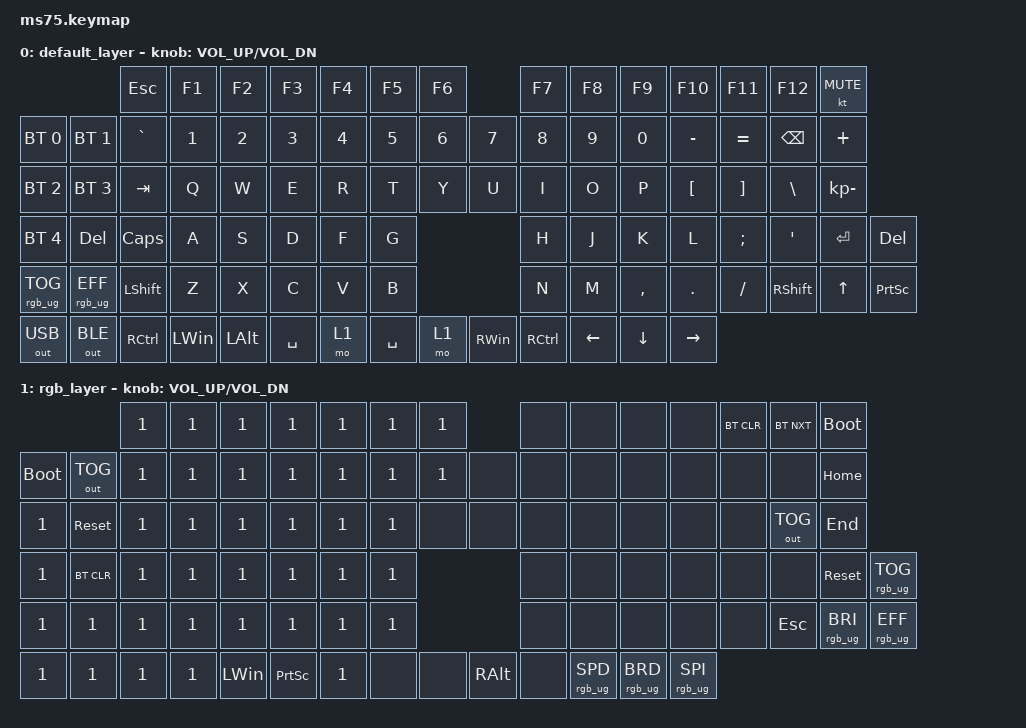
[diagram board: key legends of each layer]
#include <behaviors.dtsi>
#include <dt-bindings/zmk/bt.h>
#include <dt-bindings/zmk/keys.h>
#include <dt-bindings/zmk/keys.h>
#include <dt-bindings/zmk/outputs.h>
#include <dt-bindings/zmk/rgb.h>

/ {
    keymap {
        compatible = "zmk,keymap";

        default_layer {
            bindings = <
                                  &kp ESC         &kp F1        &kp F2        &kp F3     &kp F4  &kp F5     &kp F6  &kp F7         &kp F8                     &kp F9     &kp F10     &kp F11           &kp F12            &kt K_MUTE
&bt BT_SEL 0     &bt BT_SEL 1     &kp GRAVE       &kp N1        &kp N2        &kp N3     &kp N4  &kp N5     &kp N6  &kp N7         &kp N8     &kp N9          &kp N0     &kp MINUS   &kp EQUAL         &kp BACKSPACE                     &kp PLUS
&bt BT_SEL 2     &bt BT_SEL 3     &kp TAB         &kp Q         &kp W         &kp E      &kp R              &kp T   &kp Y          &kp U      &kp I           &kp O      &kp P       &kp LEFT_BRACKET  &kp RIGHT_BRACKET  &kp BACKSLASH  &kp KP_SUBTRACT
&bt BT_SEL 4     &kp DEL          &kp CAPS        &kp A         &kp S         &kp D      &kp F              &kp G   &kp H                     &kp J           &kp K      &kp L       &kp SEMICOLON     &kp SQT            &kp ENTER      &kp DEL
&rgb_ug RGB_TOG  &rgb_ug RGB_EFF  &kp LEFT_SHIFT  &kp Z         &kp X         &kp C      &kp V              &kp B   &kp N                     &kp M           &kp COMMA  &kp PERIOD  &kp SLASH         &kp RIGHT_SHIFT    &kp UP         &kp PRINTSCREEN
&out OUT_USB     &out OUT_BLE     &kp RCTRL       &kp LEFT_WIN  &kp LEFT_ALT  &kp SPACE  &mo 1   &kp SPACE  &mo 1   &kp RIGHT_WIN  &kp RCTRL  &kp LEFT_ARROW  &kp DOWN   &kp RIGHT
            >;

            sensor-bindings = <&inc_dec_kp C_VOL_UP C_VOL_DN>;
        };

        rgb_layer {
            bindings = <
                           &kp N1  &kp N1  &kp N1        &kp N1           &kp N1  &kp N1  &kp N1  &none          &none                   &none            &none            &bt BT_CLR  &bt BT_NXT  &bootloader
&bootloader  &out OUT_TOG  &kp N1  &kp N1  &kp N1        &kp N1           &kp N1  &kp N1  &kp N1  &none          &none  &none            &none            &none            &none       &none                        &kp HOME
&kp N1       &sys_reset    &kp N1  &kp N1  &kp N1        &kp N1           &kp N1          &kp N1  &none          &none  &none            &none            &none            &none       &none       &out OUT_TOG     &kp END
&kp N1       &bt BT_CLR    &kp N1  &kp N1  &kp N1        &kp N1           &kp N1          &kp N1  &none                 &none            &none            &none            &none       &none       &sys_reset       &rgb_ug RGB_TOG
&kp N1       &kp N1        &kp N1  &kp N1  &kp N1        &kp N1           &kp N1          &kp N1  &none                 &none            &none            &none            &none       &kp ESCAPE  &rgb_ug RGB_BRI  &rgb_ug RGB_EFF
&kp N1       &kp N1        &kp N1  &kp N1  &kp LEFT_WIN  &kp PRINTSCREEN  &kp N1  &none   &none   &kp RIGHT_ALT  &none  &rgb_ug RGB_SPD  &rgb_ug RGB_BRD  &rgb_ug RGB_SPI
            >;

            sensor-bindings = <&inc_dec_kp C_VOL_UP C_VOL_DN>;
        };
    };
};
